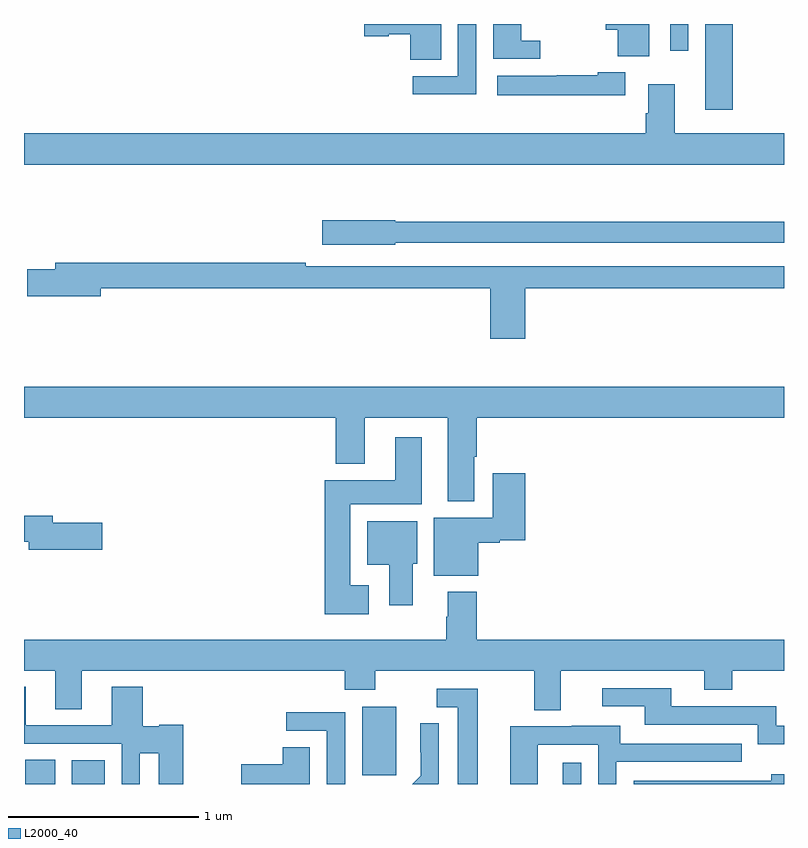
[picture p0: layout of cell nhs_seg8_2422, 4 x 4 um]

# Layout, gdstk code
import gdstk
lib = gdstk.Library(unit=1e-6, precision=1e-09)
def R(c, l, rs):  # rectangles x0, y0, x1, y1
    for r in rs: c.add(gdstk.rectangle(r[:2], r[2:], *l))
def P(c, l, *ps):  # polygons
    for p in ps: c.add(gdstk.Polygon(p, *l))
L2000_40 = (2000, 40)

nhs_seg8_2422 = lib.new_cell('nhs_seg8_2422')
R(nhs_seg8_2422, L2000_40, [(263.006,1119.9,263.164,1120.028), (263.252,1119.9,263.425,1120.024), (265.835,1119.9,265.932,1120.012), (264.779,1119.945,264.958,1120.306), (266.585,1123.449,266.729,1123.9), (266.4,1123.758,266.496,1123.9)])
P(nhs_seg8_2422, L2000_40, [(266.29,1123.9),(266.063,1123.9),(266.063,1123.871),(266.125,1123.871),(266.125,1123.731),(266.29,1123.731)],
  [(265.717,1123.812),(265.618,1123.812),(265.618,1123.9),(265.469,1123.9),(265.469,1123.716),(265.717,1123.716)],
  [(265.38,1123.9),(265.284,1123.9),(265.284,1123.626),(265.047,1123.626),(265.047,1123.529),(265.38,1123.529)],
  [(265.195,1123.9),(264.792,1123.9),(264.792,1123.835),(264.921,1123.835),(264.921,1123.847),(265.034,1123.847),(265.034,1123.711),(265.195,1123.711)],
  [(266.164,1123.645),(266.019,1123.645),(266.019,1123.63),(265.804,1123.63),(265.804,1123.627),(265.491,1123.627),(265.491,1123.526),(266.164,1123.526)],
  [(267,1123.324),(266.425,1123.324),(266.425,1123.582),(266.285,1123.582),(266.285,1123.43),(266.273,1123.43),(266.273,1123.324),(263,1123.324),(263,1123.16),(267,1123.16)],
  [(264.954,1122.75),(267,1122.75),(267,1122.859),(264.954,1122.859),(264.954,1122.867),(264.57,1122.867),(264.57,1122.737),(264.954,1122.737)],
  [(265.637,1122.508),(267,1122.508),(267,1122.624),(264.482,1122.624),(264.482,1122.644),(263.165,1122.644),(263.165,1122.608),(263.016,1122.608),(263.016,1122.466),(263.404,1122.466),(263.404,1122.508),(265.454,1122.508),(265.454,1122.243),(265.637,1122.243)],
  [(265.369,1121.623),(265.382,1121.623),(265.382,1121.828),(267,1121.828),(267,1121.992),(263,1121.992),(263,1121.828),(264.641,1121.828),(264.641,1121.585),(264.793,1121.585),(264.793,1121.828),(265.229,1121.828),(265.229,1121.387),(265.369,1121.387)],
  [(264.814,1120.945),(264.718,1120.945),(264.718,1121.372),(265.093,1121.372),(265.093,1121.725),(264.953,1121.725),(264.953,1121.5),(264.584,1121.5),(264.584,1120.793),(264.814,1120.793)],
  [(265.39,1121.171),(265.503,1121.171),(265.503,1121.183),(265.637,1121.183),(265.637,1121.536),(265.466,1121.536),(265.466,1121.302),(265.157,1121.302),(265.157,1120.997),(265.39,1120.997)],
  [(263.413,1121.276),(263.152,1121.276),(263.152,1121.312),(263,1121.312),(263,1121.176),(263.024,1121.176),(263.024,1121.134),(263.413,1121.134)],
  [(265.045,1121.058),(265.069,1121.058),(265.069,1121.284),(264.806,1121.284),(264.806,1121.054),(264.923,1121.054),(264.923,1120.842),(265.045,1120.842)],
  [(265.825,1120.496),(266.579,1120.496),(266.579,1120.397),(266.727,1120.397),(266.727,1120.496),(267,1120.496),(267,1120.66),(265.382,1120.66),(265.382,1120.912),(265.229,1120.912),(265.229,1120.781),(265.222,1120.781),(265.222,1120.66),(263,1120.66),(263,1120.496),(263.165,1120.496),(263.165,1120.294),(263.305,1120.294),(263.305,1120.496),(264.689,1120.496),(264.689,1120.397),(264.849,1120.397),(264.849,1120.496),(265.685,1120.496),(265.685,1120.288),(265.825,1120.288)],
  [(263.61,1120.061),(263.708,1120.061),(263.708,1119.9),(263.838,1119.9),(263.838,1120.213),(263.712,1120.213),(263.712,1120.203),(263.624,1120.203),(263.624,1120.411),(263.462,1120.411),(263.462,1120.209),(263.008,1120.209),(263.008,1120.411),(263,1120.411),(263,1120.113),(263.514,1120.113),(263.514,1119.9),(263.61,1119.9)],
  [(267,1120.206),(266.958,1120.206),(266.958,1120.308),(266.407,1120.308),(266.407,1120.404),(266.043,1120.404),(266.043,1120.308),(266.267,1120.308),(266.267,1120.212),(266.862,1120.212),(266.862,1120.109),(267,1120.109)],
  [(265.387,1120.401),(265.173,1120.401),(265.173,1120.305),(265.283,1120.305),(265.283,1119.9),(265.387,1119.9)],
  [(264.69,1120.278),(264.381,1120.278),(264.381,1120.179),(264.594,1120.179),(264.594,1119.9),(264.69,1119.9)],
  [(265.182,1119.902),(265.182,1120.22),(265.086,1120.22),(265.086,1120.066),(265.088,1120.066),(265.088,1119.944),(265.044,1119.9),(265.18,1119.9)],
  [(265.704,1120.107),(266.022,1120.107),(266.022,1119.9),(266.118,1119.9),(266.118,1120.017),(266.777,1120.017),(266.777,1120.113),(266.137,1120.113),(266.137,1120.207),(265.883,1120.207),(265.883,1120.203),(265.559,1120.203),(265.559,1119.9),(265.704,1119.9)],
  [(264.505,1120.094),(264.362,1120.094),(264.362,1120.004),(264.144,1120.004),(264.144,1119.9),(264.505,1119.9)],
  [(267,1119.952),(266.933,1119.952),(266.933,1119.918),(266.208,1119.918),(266.208,1119.9),(267,1119.9)])

lib.write_gds('nhs_seg8_2422.gds')
